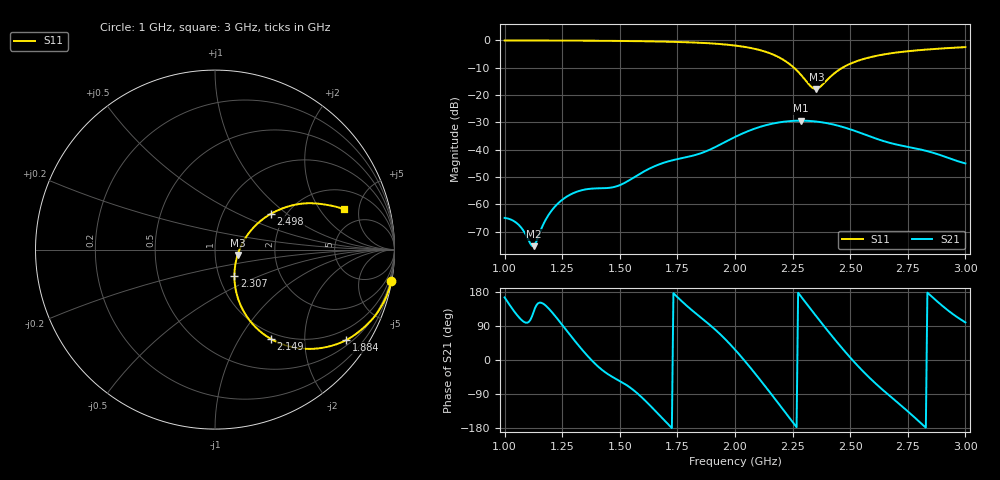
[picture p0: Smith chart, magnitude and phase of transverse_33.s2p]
! TOUCHSTONE file generated by CST MICROWAVE STUDIO
! Date and time: Tue Mar 11 13:55:59 2025
! Project name: transverse.cst
! Parameters = {Fracture=1; B=10; D=160; F=25; Feed=2.85625; L=100; M=30; R=0.384908; S=1; Theta=0; length=57.125; wave=114.25}
! Header version: 2024
! Port assignment regex: !\s*Touchstone port\s*([0-9]+)\s*=\s*(CST MWS port|CST DES external port|CST DES block port)\s*(.+)\s* \(\"(.*)\"\)(\s*mode\s*([0-9]+))?.*
! Touchstone port assignment:
! Touchstone port 1 = CST MWS port 1 ("")
! Touchstone port 2 = CST MWS port 2 ("")
# GHz S MA R 50
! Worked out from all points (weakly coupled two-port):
!   304 points, 1 GHz to 3 GHz, reference 50 ohm
!   highest |S21| = -29.39 dB at 2.287 GHz (marker M1); lowest = -75.4 dB at 1.125 GHz (marker M2)
!   lowest |S11| = -17.8 dB at 2.353 GHz (marker M3), VSWR 1.30, Z = 64.3 - j3.82 ohm
!   |S11| at or under -10 dB: 2.256 GHz to 2.466 GHz (210.6 MHz wide, 8.92 % of centre)
!   S12 and S22 are empty: the file has one direction only
!   S11 on the Smith chart (normalised r, x): 1 GHz: 0, -11; 1.884 GHz: 0.65, -3.09; 2.149 GHz: 0.91, -1.38; 2.307 GHz: 1.18, -0.36; 2.498 GHz: 1.68, +0.78; 3 GHz: 3.36, +3.47
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1  0.9975 -10.0  0.0005617 165.3  0 0.0  0 0.0
1.05941  0.997 -10.8  0.0004259 114.7  0 0.0  0 0.0
1.11221  0.9964 -11.6  0.0001887 106.2  0 0.0  0 0.0
1.12541  0.9961 -11.8  0.0001706 126.3  0 0.0  0 0.0
1.17822  0.9947 -12.7  0.0005199 143.6  0 0.0  0 0.0
1.21782  0.9934 -13.3  0.0008997 117.2  0 0.0  0 0.0
1.27063  0.9917 -14.3  0.001386 76.6  0 0.0  0 0.0
1.33663  0.9892 -15.5  0.001813 27.0  0 0.0  0 0.0
1.48845  0.9785 -19.0  0.002144 -51.6  0 0.0  0 0.0
1.66667  0.9552 -24.4  0.005287 -142.3  0 0.0  0 0.0
1.88449  0.8878 -34.6  0.009718 95.8  0 0.0  0 0.0
2.0033  0.8017 -43.3  0.0173 25.1  0 0.0  0 0.0
2.14851  0.5873 -58.0  0.02901 -83.0  0 0.0  0 0.0
2.22112  0.4114 -64.6  0.03278 -140.5  0 0.0  0 0.0
2.28713  0.232 -61.1  0.03391 167.0  0 0.0  0 0.0
2.30693  0.1842 -54.0  0.03378 151.3  0 0.0  0 0.0
2.33993  0.1328 -27.8  0.03309 125.4  0 0.0  0 0.0
2.35314  0.1294 -13.0  0.03265 115.1  0 0.0  0 0.0
2.43894  0.2646 30.9  0.02803 49.9  0 0.0  0 0.0
2.49835  0.3707 32.6  0.02368 7.6  0 0.0  0 0.0
2.66997  0.5749 26.7  0.01335 -93.8  0 0.0  0 0.0
3  0.753 17.3  0.005597 99.2  0 0.0  0 0.0
